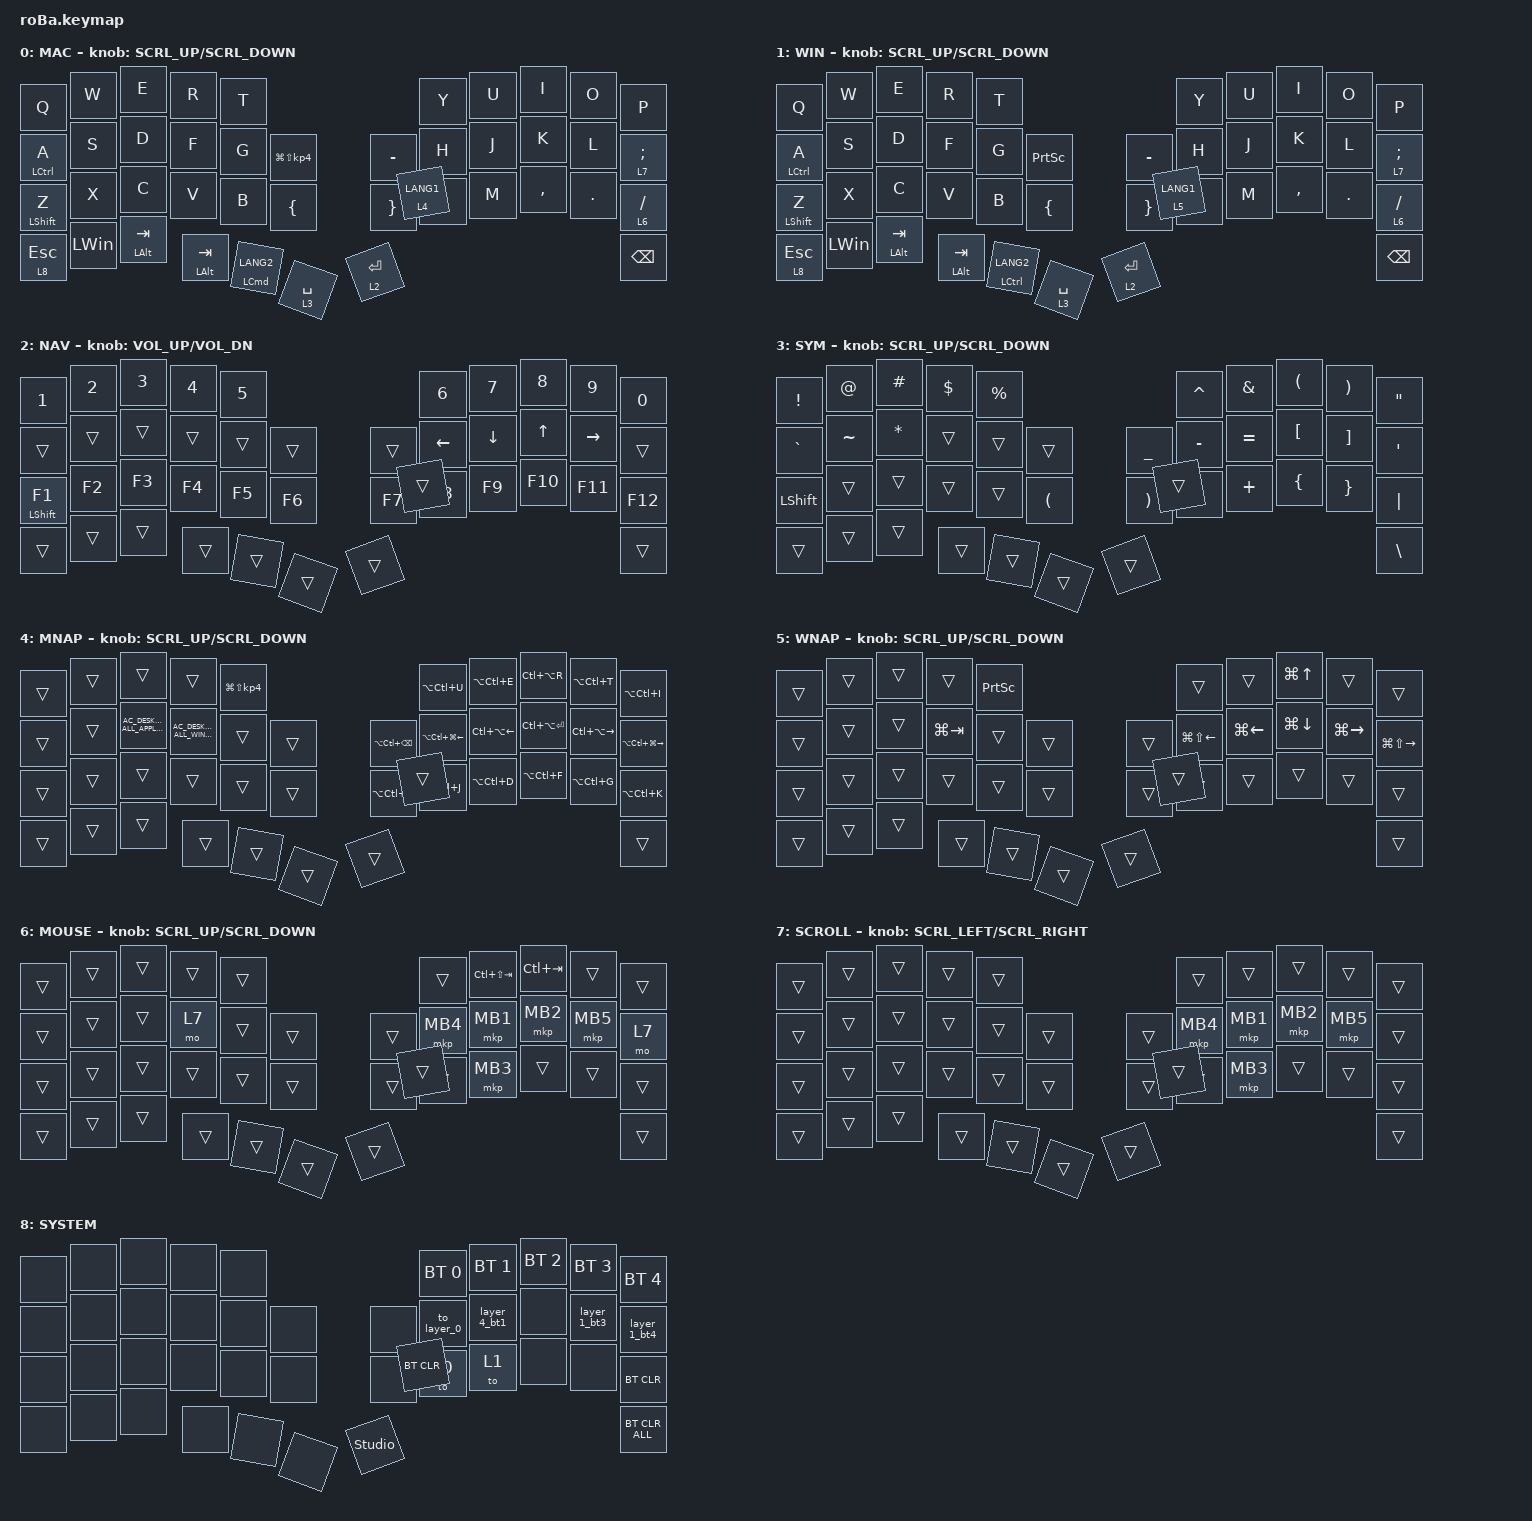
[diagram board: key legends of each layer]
#define ZMK_POINTING_DEFAULT_SCRL_VAL 80

#include <dt-bindings/zmk/mouse.h>
#include <behaviors.dtsi>
#include <dt-bindings/zmk/bt.h>
#include <dt-bindings/zmk/keys.h>
#include <dt-bindings/zmk/pointing.h>

&mt {
    tapping-term-ms = <280>;
    flavor = "balanced";
    quick-tap-ms = <175>;
    require-prior-idle-ms = <150>;
};

&lt { quick-tap-ms = <175>; };

/ {
    combos {
        compatible = "zmk,combos";

        tab {
            bindings = <&kp TAB>;
            key-positions = <13 12>;
            layers = <0 1>;
        };

        shift_tab {
            bindings = <&kp LS(TAB)>;
            key-positions = <12 11>;
            layers = <0 1>;
        };

        caps {
            bindings = <&caps_word>;
            key-positions = <13 18>;
            layers = <0 1>;
        };

        esc {
            bindings = <&kp ESCAPE>;
            key-positions = <0 1>;
            layers = <0 1>;
        };
    };

    macros {
        emoji: emoji_macro {
            compatible = "zmk,behavior-macro";
            label = "EMOJI";
            #binding-cells = <0>;
            bindings =
                <&macro_press>,
                <&kp CAPSLOCK>,
                <&macro_tap>,
                <&kp E>,
                <&macro_release>,
                <&kp CAPSLOCK>;
        };

        // BT+レイヤー切替マクロ
        // Mac用: BT0/BT1でMACレイヤーに切替
        // Win用: BT3/BT4でWINレイヤーに切替

        to_layer_0: to_layer_0 {
            compatible = "zmk,behavior-macro";
            #binding-cells = <0>;
            bindings = <&to 0 &bt BT_SEL 0>;
            label = "TO_LAYER_0";
        };

        layer_4_bt1: layer_4_bt1 {
            compatible = "zmk,behavior-macro";
            #binding-cells = <0>;
            bindings = <&to 0 &bt BT_SEL 1>;
            label = "LAYER_4_BT1";
        };

        layer_1_bt4: layer_1_bt4 {
            compatible = "zmk,behavior-macro";
            #binding-cells = <0>;
            bindings = <&to 1 &bt BT_SEL 4>;
            label = "LAYER_1_BT4";
        };

        layer_1_bt3: layer_1_bt3 {
            compatible = "zmk,behavior-macro";
            #binding-cells = <0>;
            bindings = <&to 1 &bt BT_SEL 3>;
            label = "LAYER_1_BT3";
        };
    };

    behaviors {
        // 左手ホームロウmod
        // - 右手側キーを押した時だけmodが発火し、タイピング中の誤発火を防止
        // - require-prior-idle-ms: 直前150ms以内にキー入力があればtap優先
        // - 使用箇所: A(Ctrl), Z(Shift)

        hml: home_row_mod_left {
            compatible = "zmk,behavior-hold-tap";
            label = "HOME_ROW_MOD_LEFT";
            #binding-cells = <2>;
            flavor = "balanced";
            tapping-term-ms = <280>;
            quick-tap-ms = <175>;
            require-prior-idle-ms = <150>;
            bindings = <&kp>, <&kp>;

            hold-trigger-key-positions = <5 6 7 8 9 16 17 18 19 20 21 28 29 30 31 32 33 34 35 36 37 38 39 40 41 42>;
            hold-trigger-on-release;
        };

        // サムキー専用mod-tap
        // - require-prior-idle-msなし: 高速タイピング直後でもmod(hold)が確実に発火
        // - 通常&mtだとCmd+Vなどが失敗する問題を解決
        // - 使用箇所: MAC=TAB/CMD(位置37) + LANG2/ALT(位置39), WIN=TAB/CTRL(位置37) + LANG2/ALT(位置39)

        tmt: thumb_mod_tap {
            compatible = "zmk,behavior-hold-tap";
            label = "THUMB_MOD_TAP";
            #binding-cells = <2>;
            flavor = "balanced";
            tapping-term-ms = <200>;
            quick-tap-ms = <175>;
            bindings = <&kp>, <&kp>;
        };

        // Sticky Key (ワンショットModifier)
        // タップ→次の1キーだけModifier適用→自動解除
        // quick-release: 次キーのpress時点で即解除(高速タイピング対応)
        // ignore-modifiers: 複数Mod連鎖対応 (sk Ctrl→sk Shift→A = Ctrl+Shift+A)
        // 使用例: &skq LSHIFT, &skq LCTRL, &skq LGUI, &skq LALT

        skq: sticky_key_quick_release {
            compatible = "zmk,behavior-sticky-key";
            label = "STICKY_KEY_QUICK_RELEASE";
            #binding-cells = <1>;
            bindings = <&kp>;
            release-after-ms = <1000>;
            quick-release;
            ignore-modifiers;
        };

        // エンコーダ: スクロール用 (msc = mouse scroll)

        encoder_msc: sensor_rotate_msc {
            compatible = "zmk,behavior-sensor-rotate-var";
            label = "ENCODER_SCROLL";
            #sensor-binding-cells = <2>;
            bindings = <&msc>, <&msc>;

            tap-ms = <20>;
        };

        // エンコーダ: キー入力用 (NAVレイヤーで音量調整に使用)

        encoder_kp: sensor_rotate_kp {
            compatible = "zmk,behavior-sensor-rotate-var";
            label = "ENCODER_KEYPRESS";
            #sensor-binding-cells = <2>;
            bindings = <&kp>, <&kp>;
        };
    };

    keymap {
        compatible = "zmk,keymap";

        // Layer 0: MAC
        // デフォルトMacレイヤー

        MAC {
            display-name = "MAC";
            bindings = <
&kp Q              &kp W         &kp E              &kp R              &kp T                                                          &kp Y        &kp U  &kp I      &kp O    &kp P
&hml LCTRL A       &kp S         &kp D              &kp F              &kp G            &kp LG(LS(KP_NUMBER_4))      &kp MINUS        &kp H        &kp J  &kp K      &kp L    &lt 7 SEMICOLON
&hml LEFT_SHIFT Z  &kp X         &kp C              &kp V              &kp B            &kp LEFT_BRACE               &kp RIGHT_BRACE  &kp N        &kp M  &kp COMMA  &kp DOT  &lt 6 SLASH
&lt 8 ESCAPE       &kp LEFT_WIN  &tmt LEFT_ALT TAB  &tmt LEFT_ALT TAB  &tmt LCMD LANG2  &lt 3 SPACE                  &lt 2 ENTER      &lt 4 LANG1                             &kp BACKSPACE
            >;

            sensor-bindings = <&encoder_msc SCRL_UP SCRL_DOWN>;
        };

        // Layer 1: WIN
        // Windowsデフォルトレイヤー

        WIN {
            display-name = "WIN";
            bindings = <
&kp Q              &kp W         &kp E              &kp R          &kp T                                                   &kp Y        &kp U  &kp I      &kp O    &kp P
&hml LCTRL A       &kp S         &kp D              &kp F          &kp G             &kp PRINTSCREEN      &kp MINUS        &kp H        &kp J  &kp K      &kp L    &lt 7 SEMICOLON
&hml LEFT_SHIFT Z  &kp X         &kp C              &kp V          &kp B             &kp LEFT_BRACE       &kp RIGHT_BRACE  &kp N        &kp M  &kp COMMA  &kp DOT  &lt 6 SLASH
&lt 8 ESCAPE       &kp LEFT_WIN  &tmt LEFT_ALT TAB  &tmt LALT TAB  &tmt LCTRL LANG2  &lt 3 SPACE          &lt 2 ENTER      &lt 5 LANG1                             &kp BACKSPACE
            >;

            sensor-bindings = <&encoder_msc SCRL_UP SCRL_DOWN>;
        };

        // Layer 2: NAV
        // 数字 + Vim式矢印(HJKL位置) + Fキー

        NAV {
            display-name = "NAV";
            bindings = <
&kp N1              &kp N2  &kp N3  &kp N4  &kp N5                      &kp N6          &kp N7          &kp N8        &kp N9           &kp N0
&trans              &trans  &trans  &trans  &trans  &trans      &trans  &kp LEFT_ARROW  &kp DOWN_ARROW  &kp UP_ARROW  &kp RIGHT_ARROW  &trans
&hml LEFT_SHIFT F1  &kp F2  &kp F3  &kp F4  &kp F5  &kp F6      &kp F7  &kp F8          &kp F9          &kp F10       &kp F11          &kp F12
&trans              &trans  &trans  &trans  &trans  &trans      &trans  &trans                                                         &trans
            >;

            sensor-bindings = <&encoder_kp C_VOL_UP C_VOL_DN>;
        };

        // Layer 3: SYM
        // 記号レイヤー

        SYM {
            display-name = "SYM";
            bindings = <
&kp EXCLAMATION  &kp AT_SIGN  &kp HASH      &kp DOLLAR  &kp PERCENT                                                   &kp CARET       &kp AMPERSAND  &kp LPAR          &kp RPAR           &kp DOUBLE_QUOTES
&kp GRAVE        &kp TILDE    &kp ASTERISK  &trans      &trans       &trans                    &kp UNDERSCORE         &kp MINUS       &kp EQUAL      &kp LEFT_BRACKET  &kp RIGHT_BRACKET  &kp SINGLE_QUOTE
&kp LEFT_SHIFT   &trans       &trans        &trans      &trans       &kp LEFT_PARENTHESIS      &kp RIGHT_PARENTHESIS  &kp UNDERSCORE  &kp PLUS       &kp LEFT_BRACE    &kp RIGHT_BRACE    &kp PIPE
&trans           &trans       &trans        &trans      &trans       &trans                    &trans                 &trans                                                              &kp BACKSLASH
            >;

            sensor-bindings = <&encoder_msc SCRL_UP SCRL_DOWN>;
        };

        // Layer 4: MNAP
        // Mac アプリ/ウィンドウ管理 (Rectangle等のショートカット)

        MNAP {
            display-name = "MNAP";
            bindings = <
&trans  &trans  &trans                                  &trans                             &kp LG(LS(KP_NUMBER_4))                                     &kp LA(LC(U))               &kp LA(LC(E))           &kp LC(LA(R))      &kp LA(LC(T))            &kp LA(LC(I))
&trans  &trans  &kp C_AC_DESKTOP_SHOW_ALL_APPLICATIONS  &kp C_AC_DESKTOP_SHOW_ALL_WINDOWS  &trans                   &trans      &kp LA(LC(BACKSPACE))  &kp LA(LC(LG(LEFT_ARROW)))  &kp LC(LA(LEFT_ARROW))  &kp LC(LA(ENTER))  &kp LC(LA(RIGHT_ARROW))  &kp LA(LC(LG(RIGHT_ARROW)))
&trans  &trans  &trans                                  &trans                             &trans                   &trans      &kp LA(LC(C))          &kp LA(LC(J))               &kp LA(LC(D))           &kp LA(LC(F))      &kp LA(LC(G))            &kp LA(LC(K))
&trans  &trans  &trans                                  &trans                             &trans                   &trans      &trans                 &trans                                                                                          &trans
            >;

            sensor-bindings = <&encoder_msc SCRL_UP SCRL_DOWN>;
        };

        // Layer 5: WNAP
        // Windows アプリ/ウィンドウ管理

        WNAP {
            display-name = "WNAP";
            bindings = <
&trans  &trans  &trans  &trans       &kp PRINTSCREEN                      &trans                  &trans              &kp LG(UP_ARROW)    &trans               &trans
&trans  &trans  &trans  &kp LG(TAB)  &trans           &trans      &trans  &kp LG(LS(LEFT_ARROW))  &kp LG(LEFT_ARROW)  &kp LG(DOWN_ARROW)  &kp LG(RIGHT_ARROW)  &kp LG(LS(RIGHT_ARROW))
&trans  &trans  &trans  &trans       &trans           &trans      &trans  &trans                  &trans              &trans              &trans               &trans
&trans  &trans  &trans  &trans       &trans           &trans      &trans  &trans                                                                               &trans
            >;

            sensor-bindings = <&encoder_msc SCRL_UP SCRL_DOWN>;
        };

        // Layer 6: MOUSE
        // トラックボール使用時のマウスボタンレイヤー

        MOUSE {
            display-name = "MOUSE";
            bindings = <
&trans  &trans  &trans  &trans  &trans                      &trans    &kp LC(LS(TAB))  &kp LC(TAB)  &trans    &trans
&trans  &trans  &trans  &mo 7   &trans  &trans      &trans  &mkp MB4  &mkp MB1         &mkp MB2     &mkp MB5  &mo 7
&trans  &trans  &trans  &trans  &trans  &trans      &trans  &trans    &mkp MB3         &trans       &trans    &trans
&trans  &trans  &trans  &trans  &trans  &trans      &trans  &trans                                            &trans
            >;

            sensor-bindings = <&encoder_msc SCRL_UP SCRL_DOWN>;
        };

        // Layer 7: SCROLL
        // トラックボールがスクロールモードになるレイヤー

        SCROLL {
            display-name = "SCROLL";
            bindings = <
&trans  &trans  &trans  &trans  &trans                      &trans    &trans    &trans    &trans    &trans
&trans  &trans  &trans  &trans  &trans  &trans      &trans  &mkp MB4  &mkp MB1  &mkp MB2  &mkp MB5  &trans
&trans  &trans  &trans  &trans  &trans  &trans      &trans  &trans    &mkp MB3  &trans    &trans    &trans
&trans  &trans  &trans  &trans  &trans  &trans      &trans  &trans                                  &trans
            >;

            sensor-bindings = <&encoder_msc SCRL_LEFT SCRL_RIGHT>;
        };

        // Layer 8: SYSTEM
        // Bluetoothプロファイル選択・システムリセット

        SYSTEM {
            display-name = "SYSTEM";
            bindings = <
&none  &none  &none  &none  &none                             &bt BT_SEL 0  &bt BT_SEL 1  &bt BT_SEL 2  &bt BT_SEL 3  &bt BT_SEL 4
&none  &none  &none  &none  &none  &none      &none           &to_layer_0   &layer_4_bt1  &none         &layer_1_bt3  &layer_1_bt4
&none  &none  &none  &none  &none  &none      &none           &to 0         &to 1         &none         &none         &bt BT_CLR
&none  &none  &none  &none  &none  &none      &studio_unlock  &bt BT_CLR                                              &bt BT_CLR_ALL
            >;
        };
    };
};
